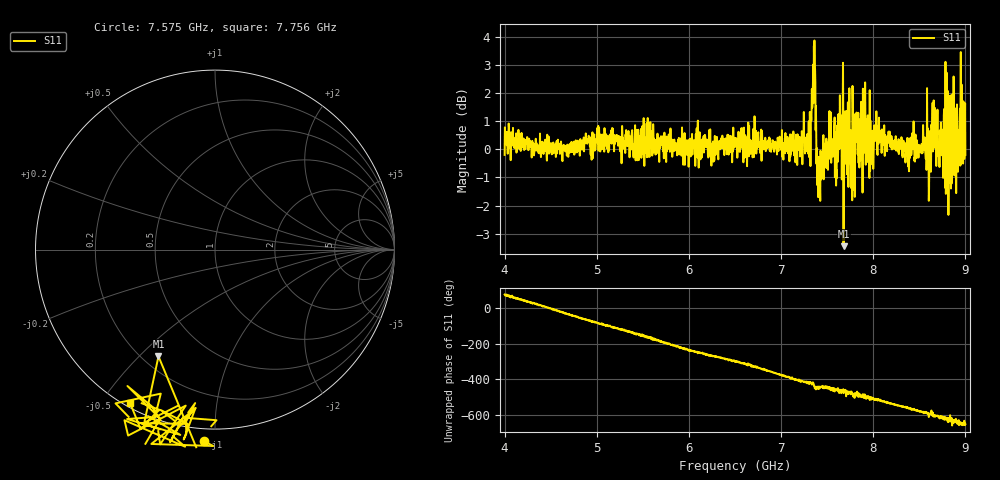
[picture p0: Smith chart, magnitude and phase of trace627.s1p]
! Created with skrf 1.8.0 (http://scikit-rf.org).
# Hz S RI R 50.0
!freq ReS11 ImS11
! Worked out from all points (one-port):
!   1601 points, 4 GHz to 9 GHz, reference 50 ohm
!   lowest |S11| = -3.4 dB at 7.678 GHz (marker M1), VSWR 5.11, Z = 13.1 - j28.6 ohm
!   |S11| at or under -10 dB: nowhere
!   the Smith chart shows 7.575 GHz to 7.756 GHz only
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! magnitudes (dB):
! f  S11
! 4 GHz  -0.2
! 4.066 GHz  -0.4
! 4.625 GHz  -0.4
! 5.25 GHz  0.1
! 5.875 GHz  0.2
! 6.5 GHz  0.1
! 7.125 GHz  0.2
! 7.294 GHz  -0.2
! 7.353 GHz  1.6
! 7.372 GHz  2.4
! 7.409 GHz  -0.7
! 7.516 GHz  0.0
! 7.609 GHz  0.8
! 7.647 GHz  0.6
! 7.678 GHz  -3.4
! 7.75 GHz  -0.3
! 7.891 GHz  -0.1
! 7.981 GHz  -0.3
! 8.038 GHz  0.5
! 8.375 GHz  -0.2
! 8.566 GHz  -0.2
! 8.603 GHz  -1.8
! 8.656 GHz  1.7
! 8.806 GHz  0.5
! 8.859 GHz  2.0
! 8.919 GHz  -0.8
! 8.959 GHz  2.3
! 9 GHz  -0.2
